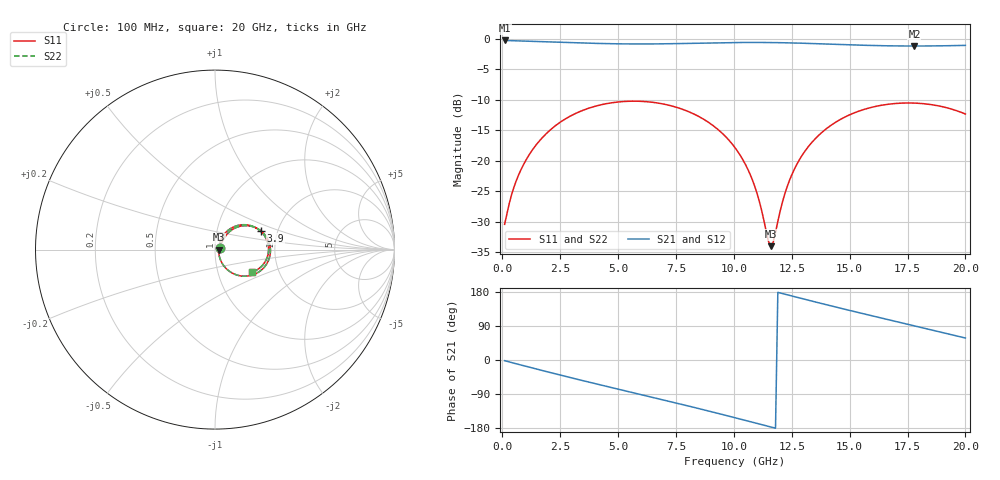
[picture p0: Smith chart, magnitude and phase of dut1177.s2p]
! Touchstone file exported from HFSS 2026.1.0
!  File:  C:/ffzhzh/LocalFiles/Ansys_Project_Files/temp_train_TSV_RDL_1177_1783315349_38820.aedt
!  Generated:  01:31:34 PM Jul  6, 2026
!  Design:  TSV_RDL
!  Project:  temp_train_TSV_RDL_1177_1783315349_38820
! Variables:
!  h_bsmrdl = 2.43um
!  h_ox = 20um
!  h_rdl = 5um
!  h_sub = 58.39um
!  h_tmrdl = 3.68um
!  h_tsv = 58.39um
!  h_via = 3um
!  l_bsmrdl = 567.68um
!  l_sub = 5224.42um
!  l_tmrdl = 750.93um
!  m_sub = 200um
!  pitch = 31.7um
!  r_tsv = 11.27um
!  s_tmrdl = 10um
!  w_bsmrdl = 18.18um
!  w_sub = 500um
!  w_tmrdl = 21.04um
!  x_tsv_center1 = 761.45um
!  x_tsv_center2 = 1347.31um
!  x_tsv_center3 = 2119.28um
!  x_tsv_center4 = 2705.14um
!  x_tsv_center5 = 3477.11um
!  x_tsv_center6 = 4062.97um
# GHz S MA R 50.000000
! Terminal data exported
! Port[1] = TM_RDL1_1_T1
! Port[2] = TM_RDL5_1_T1
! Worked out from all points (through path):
!   200 points, 100 MHz to 20 GHz, reference 50 ohm
!   highest |S21| = -0.25 dB at 100 MHz (marker M1); lowest = -1.2 dB at 17.8 GHz (marker M2)
!   group delay of S21, straight-line fit = 42 ps
!   lowest |S11| = -34.0 dB at 11.6 GHz (marker M3), VSWR 1.04, Z = 52 - j0.0669 ohm
!   |S11| at or under -10 dB: start of sweep to end of sweep
!   |S22| runs from -33.9 to -10.2 dB; largest |S21 - S12| = 1.8e-14
!   S11 on the Smith chart (normalised r, x): 100 MHz: 1.06, +0.02; 3.9 GHz: 1.64, +0.37; 20 GHz: 1.46, -0.39
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0.1  0.03023 20.6  0.972 -1.8  0.972 -1.8  0.03023 20.6
! Gamma 0 0 0 0
! Port Impedance 50 0 50 0
0.6  0.06857 49.9  0.9639 -10.0  0.9639 -10.0  0.06858 49.9
1.3  0.123 51.4  0.9557 -21.0  0.9557 -21.0  0.123 51.4
2.3  0.1948 42.3  0.9426 -36.6  0.9426 -36.6  0.1948 42.3
3.5  0.2608 27.3  0.9262 -54.8  0.9262 -54.8  0.2608 27.3
3.9  0.2768 22.0  0.9214 -60.7  0.9214 -60.7  0.2767 22.0
5.3  0.3075 3.3  0.9108 -81.2  0.9108 -81.2  0.3075 3.3
6.8  0.2965 -16.9  0.9115 -103.0  0.9115 -103.0  0.2964 -16.9
8.7  0.2194 -42.5  0.9252 -131.4  0.9252 -131.4  0.2193 -42.5
10.1  0.1246 -59.3  0.9347 -153.1  0.9347 -153.1  0.1245 -59.2
10.9  0.0621 -61.8  0.9363 -165.7  0.9363 -165.7  0.06201 -61.7
11.5  0.02178 -23.0  0.9349 -175.2  0.9349 -175.2  0.02183 -22.6
11.6  0.02 -1.8  0.9344 -176.8  0.9344 -176.8  0.02011 -1.5
11.7  0.02161 19.5  0.9339 -178.4  0.9339 -178.4  0.02176 19.7
12.1  0.04608 55.5  0.9313 175.3  0.9313 175.3  0.04625 55.4
12.4  0.06902 59.8  0.9287 170.6  0.9287 170.6  0.06918 59.8
12.8  0.09985 59.1  0.9245 164.3  0.9245 164.3  0.1 59.1
13.4  0.144 53.8  0.9171 155.0  0.9171 155.0  0.1441 53.8
14.8  0.2291 36.7  0.8977 133.8  0.8977 133.8  0.2293 36.6
16.7  0.292 11.8  0.8783 106.0  0.8783 106.0  0.2921 11.8
17.8  0.298 -2.7  0.8751 90.2  0.8751 90.2  0.2981 -2.7
20  0.2424 -31.2  0.8856 58.0  0.8856 58.0  0.2424 -31.2
